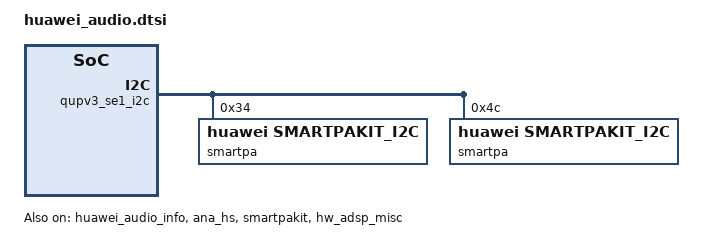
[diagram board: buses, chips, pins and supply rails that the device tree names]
&bolero {
	wcd937x-codec {
		qcom,cdc-micbias1-mv = <2700>;
		qcom,cdc-micbias2-mv = <2700>;
		qcom,cdc-micbias3-mv = <2700>;
	};
};

&bengal_snd {
	disable_elect_insert_irq = "true";
	always_enable_micbias_after_insert = "true";
};

&tlmm {
	smartpakit_irq_pins: smartpakit_irq_pins {
		smartpakit_irq_default: smartpakit_irq_default {
			mux {
				pins = "gpio102";
				function = "gpio";
			};

			config {
				pins = "gpio102";
				bias-pull-up;
				input-enable;
			};
		};
	};
};

&huawei_audio_info {
	compatible = "hw,hw_audio_info";
	product_identifier = "MAO";
	voice_vol_level = "10";
	pa_identifier = "smartpakit";
	smartpa_i2s = <1>;
	smartpa_num = <1>;
	status = "ok";
	hardware_info {
		mic_num = "2";
		direct_devices = "0x4000000";
		get_ec_in_hal = "true";
		voip_ap_algo_enable = "true";
		voip_scene_support = "true";
		voip_handset_concurrency = "true";
		status = "ok";
		mic_content = "bottom:mainmic#top:submic";
	};

	audio_channel_rotation_info {
		angle="90";
		rotation_support= "true";
	};
};

&tlmm {
	audio_mic_en_on: audio_mic_en_on {
		mux {
			pins = "gpio111";
			function = "gpio";
		};

		config {
			pins = "gpio111";
			bias-disable;
			output-high;
			drive-strength = <2>; /* 2 MA */
		};
	};

	audio_mic_en_off: audio_mic_en_off {
		mux {
			pins = "gpio111";
			function = "gpio";
		};

		config {
			pins = "gpio111";
			bias-disable;
			output-low;
			bias-pull-down; /* PULL DOWN */
			drive-strength = <2>; /* 2 MA */
		};
	};

	typec_ear_3v3_en_on: typec_ear_3v3_en_on {
		mux {
			pins = "gpio103";
			function = "gpio";
		};

		config {
			pins = "gpio103";
			drive-strength = <2>;
			bias-disable;
			output-high;
		};
	};

	typec_ear_3v3_en_off: typec_ear_3v3_en_off {
		mux {
			pins = "gpio103";
			function = "gpio";
		};

		config {
			pins = "gpio103";
			drive-strength = <2>;
			bias-pull-down;
			input-enable;
		};

	};
};

&ana_hs {
	compatible = "huawei,ana_hs";
	status = "ok";
	ana_hs_core@0 {
		compatible = "huawei,ana_hs_core";
		pinctrl_used;  // use pinctrl to set ldo supply
		bus_type = <2>; // 0: gpio,  1: i2c,   2: pinctrl

		pinctrl-names = "mic_off", "mic_on", "ldo_off", "ldo_on";
		pinctrl-0 = <&audio_mic_en_off>;
		pinctrl-1 = <&audio_mic_en_on>;
		pinctrl-2 = <&typec_ear_3v3_en_off>;
		pinctrl-3 = <&typec_ear_3v3_en_on>;

		plugout_timing_optimization = <1>;
		plugin_status_stable_delay = <300>;

		status = "ok";
	};
};

&audio_hw_config {
	asr_enable = "true";
	vassistant_call = "true";
	cam_record_perf = "true";
        voip_perf = "true";
};

&qupv3_se1_i2c {
	smartpa@34 {
		compatible = "huawei,smartpakit_i2c";
		reg = <0x34>;
		/* 0 MAXIM, 1 NXP, 2 TI, 3 OTHER, 4:huawei customize */
		chip_vendor = <4>;
		/* refer to smartpakit.out_device prop */
		chip_id = <0>;
		chip_model = "01-02";
		status = "ok";

		/* reg_ctl node: a node contains three data<addr value ctl_type>
		 * ctl_type: 0 read reg(default), 1 write reg, 2 only time delay
		 * value:
		 *     read:  reg number(num >= 1)
		 *     write: reg value
		 *     delay: time delay
		 * time delay unit: msecs */
		version_regs = <0x03 1 0>;
		dump_regs = <0 256 0>;
		hw_reset {
			gpio_reset = <&tlmm 54 0>; // GPIO_54
			/* gpio_state node: a node contains two data<state delay>
			 * time delay unit: msecs */
			ctl_sequence = <1 1 0 1>;
		};
		irq_handler {
			gpio_irq = <&tlmm 102 0>; // GPIO_102
			/* 0x0 IRQF_TRIGGER_NONE, 0x1 IRQF_TRIGGER_RISING, 0x2 IRQF_TRIGGER_FALLING, 0x4 IRQF_TRIGGER_HIGH, 0x8 IRQF_TRIGGER_LOW*/
			irq_flags = <2>;
			/* whether or not need reset chip*/
			need_reset;
			rw_sequence = <
				0x10 1 0
				0x11 1 0
				0x13 1 0
				0x14 1 0
				0x40 1 0
				0x41 1 0
				0x42 1 0
			>;
		};
		regmap_cfg {
			reg_bits = <8>;
			val_bits = <16>;
			/* 0 REGCACHE_NONE, 1 REGCACHE_RBTREE, 2 REGCACHE_COMPRESSED, 3 REGCACHE_FLAT */
			cache_type = <0>;
			max_register = <0xff>;
			reg_defaults = <
				0x00 0x1801
				0x01 0x0014
			>;
		};
	};

	smartpa@4C {
		compatible = "huawei,smartpakit_i2c";
		reg = <0x4C>;
		/* 0 MAXIM, 1 NXP, 2 TI, 3 OTHER*/
		chip_vendor = <4>;
		/* refer to smartpakit.out_device prop */
		chip_id = <0>;
		chip_model = "02-01";
		/* maybe trigger one irq after some chip reset
		* debounce wait time unit: msecs */
		reset_debounce_wait_time = <100>;
		status = "ok";

		/* reg_ctl node: a node contains three data<addr value ctl_type>
		* ctl_type: 0 read reg(default), 1 write reg, 2 only time delay
		* value:
		*     read:  reg number(num >= 1)
		*     write: reg value
		*     delay: time delay
		* time delay unit: msecs */
		version_regs = <
			0	0	1
			125	1	0
		>;
		dump_regs = <
			0	0	1
			0	128	0
			0	50	1
			0	128	0
			0	51	1
			0	128	0
			0	52	1
			0	128	0
		>;
		hw_reset {
			gpio_reset = <&tlmm 54 0>; // GPIO_54
			/* gpio_state node: a node contains two data<state delay>
			* time delay unit: msecs */
			ctl_sequence = <0 3 1 2>;
		};

		irq_handler {
			gpio_irq = <&tlmm 102 0>; // GPIO_102
			/* 0x0 IRQF_TRIGGER_NONE, 0x1 IRQF_TRIGGER_RISING, 0x2 IRQF_TRIGGER_FALLING, 0x4 IRQF_TRIGGER_HIGH, 0x8 IRQF_TRIGGER_LOW*/
			irq_flags = <2>;
			/* whether or not need reset chip*/
			need_reset;
			rw_sequence = <
				0	20	2
				0	0	1
				26	1	0
				27	1	0
				31	1	0
				32	1	0
				36	1	0
				37	1	0
				2	1	0
				120	1	0
			>;
		};
		regmap_cfg {
			reg_bits = <8>;
			val_bits = <8>;
			/* 0 REGCACHE_NONE, 1 REGCACHE_RBTREE, 2 REGCACHE_COMPRESSED, 3 REGCACHE_FLAT */
			cache_type = <0>;
			max_register = <128>;
		};
	};

};

&smartpakit {
	compatible = "huawei,smartpakit";
	/* 0 hisi, 1 qcom */
	soc_platform = <1>;
	/* algo running on: 0 codec_dsp, 1 soc_dsp, 2 smartpa_dsp, 3 simple pa(not smpartpa), 4 simple pa(with i2c) */
	algo_in = <1>;
	/* algo_in params need match out_device for smartpa.
	 * Now, up to only support eight pa, so out_device = <0 0 0 0 0 0 0 0>;
	 * 1. This array is arranged in the following order:
	 *    <0 1 2 3>
	 *    <pril prir secl secr>
	 * 2. This array element value is 0 or 1:
	 *    smartpa: 0 speaker, 1 receiver
	 *    simple pa: out_device not applicable, only set 0 to indicate pa_num
	 * 3. The length of this array is variable, for example:
	 *    single pa: out_device = <0>;
	 *    two pa: out_device = <0 0>;
	 *    four pa: out_device = <1 1 0 0>;
	 *    eight pa: out_device = <0 0 0 0 0 0 0 0>; */
	out_device = <0>;
	/* param_version: 1 mixed smartpa param support */
	param_version = <1>;
	cali_data_update_mode = <1>;
	status = "ok";

	smartpakit_irq_pinctrl;
	pinctrl-names = "default";
	pinctrl-0 = <&smartpakit_irq_default>;

};

&hw_adsp_misc {
	compatible = "hw,hw_adsp_misc";
	rx_port_id = <0x1000>;
	tx_port_id = <0x1001>;
	smartpa_num = <1>;
	status = "ok";

	tfa_smartamp: tfa_smartamp@0{
		compatible = "huawei,tfa_smartamp";
		algo_control_need = <0>;
		status = "ok";
	};

	awinic_smartamp: awinic_smartamp@0{
		compatible = "huawei,awinic_smartamp";
		algo_control_need = <0>;
		status = "ok";
	};

	customize_smartamp: customize_smartamp@0{
		compatible = "huawei,customize_smartamp";
		algo_control_need = <0>;
		status = "ok";
	};
};
